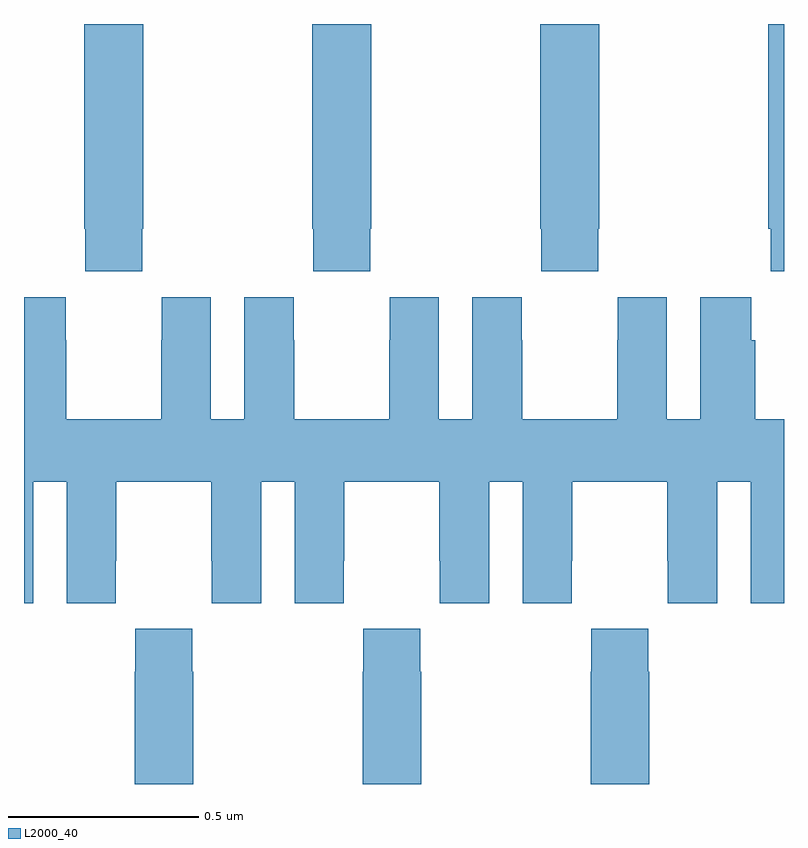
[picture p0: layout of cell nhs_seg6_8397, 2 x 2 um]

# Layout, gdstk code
import gdstk
lib = gdstk.Library(unit=1e-6, precision=1e-09)
def P(c, l, *ps):  # polygons
    for p in ps: c.add(gdstk.Polygon(p, *l))
L2000_40 = (2000, 40)

nhs_seg6_8397 = lib.new_cell('nhs_seg6_8397')
P(nhs_seg6_8397, L2000_40, [(222,988.5),(221.959,988.5),(221.959,987.961),(221.965,987.961),(221.965,987.849),(222,987.849)],
  [(221.511,987.961),(221.514,987.961),(221.514,988.5),(221.359,988.5),(221.359,987.961),(221.361,987.961),(221.361,987.849),(221.511,987.849)],
  [(220.911,987.961),(220.914,987.961),(220.914,988.5),(220.759,988.5),(220.759,987.961),(220.761,987.961),(220.761,987.849),(220.911,987.849)],
  [(220.311,987.961),(220.314,987.961),(220.314,988.5),(220.159,988.5),(220.159,987.961),(220.161,987.961),(220.161,987.849),(220.311,987.849)],
  [(221.693,987.088),(221.694,987.088),(221.694,986.976),(221.824,986.976),(221.824,987.296),(221.912,987.296),(221.912,986.976),(222,986.976),(222,987.46),(221.924,987.46),(221.924,987.668),(221.914,987.668),(221.914,987.781),(221.78,987.781),(221.78,987.46),(221.692,987.46),(221.692,987.781),(221.562,987.781),(221.562,987.668),(221.561,987.668),(221.561,987.46),(221.311,987.46),(221.311,987.668),(221.31,987.668),(221.31,987.781),(221.18,987.781),(221.18,987.46),(221.092,987.46),(221.092,987.781),(220.962,987.781),(220.962,987.668),(220.961,987.668),(220.961,987.46),(220.711,987.46),(220.711,987.668),(220.71,987.668),(220.71,987.781),(220.58,987.781),(220.58,987.46),(220.492,987.46),(220.492,987.781),(220.362,987.781),(220.362,987.668),(220.361,987.668),(220.361,987.46),(220.111,987.46),(220.111,987.668),(220.11,987.668),(220.11,987.781),(220,987.781),(220,986.976),(220.024,986.976),(220.024,987.296),(220.112,987.296),(220.112,986.976),(220.242,986.976),(220.242,987.088),(220.243,987.088),(220.243,987.296),(220.493,987.296),(220.493,987.088),(220.494,987.088),(220.494,986.976),(220.624,986.976),(220.624,987.296),(220.712,987.296),(220.712,986.976),(220.842,986.976),(220.842,987.088),(220.843,987.088),(220.843,987.296),(221.093,987.296),(221.093,987.088),(221.094,987.088),(221.094,986.976),(221.224,986.976),(221.224,987.296),(221.312,987.296),(221.312,986.976),(221.442,986.976),(221.442,987.088),(221.443,987.088),(221.443,987.296),(221.693,987.296)],
  [(221.646,986.795),(221.643,986.795),(221.643,986.908),(221.493,986.908),(221.493,986.795),(221.491,986.795),(221.491,986.5),(221.646,986.5)],
  [(220.446,986.795),(220.443,986.795),(220.443,986.908),(220.293,986.908),(220.293,986.795),(220.291,986.795),(220.291,986.5),(220.446,986.5)],
  [(221.046,986.795),(221.043,986.795),(221.043,986.908),(220.893,986.908),(220.893,986.795),(220.891,986.795),(220.891,986.5),(221.046,986.5)])

lib.write_gds('nhs_seg6_8397.gds')
